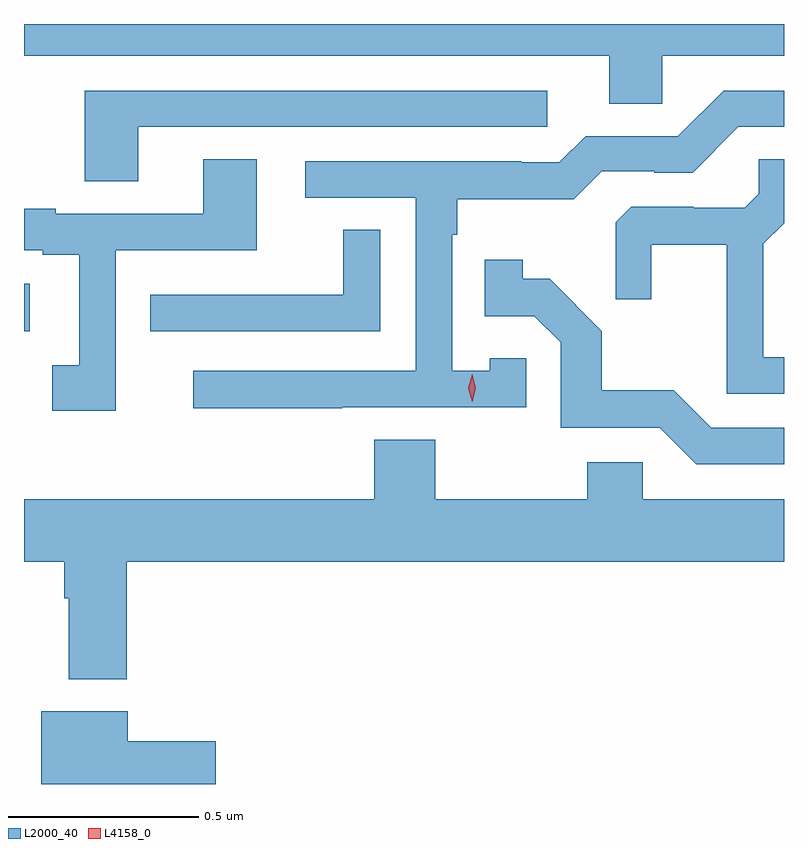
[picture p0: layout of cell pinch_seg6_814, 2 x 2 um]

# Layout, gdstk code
import gdstk
lib = gdstk.Library(unit=1e-6, precision=1e-09)
def R(c, l, rs):  # rectangles x0, y0, x1, y1
    for r in rs: c.add(gdstk.rectangle(r[:2], r[2:], *l))
def P(c, l, *ps):  # polygons
    for p in ps: c.add(gdstk.Polygon(p, *l))
L2000_40 = (2000, 40)
L4158_0 = (4158, 0)

pinch_seg6_814 = lib.new_cell('pinch_seg6_814')
R(pinch_seg6_814, L2000_40, [(349.471,979.911,349.486,980.035)])
P(pinch_seg6_814, L2000_40, [(351.15,980.636),(351.471,980.636),(351.471,980.719),(349.471,980.719),(349.471,980.636),(351.011,980.636),(351.011,980.509),(351.15,980.509)],
  [(350.309,979.71),(350.793,979.71),(350.793,979.839),(350.697,979.839),(350.697,979.807),(350.598,979.807),(350.598,980.165),(350.611,980.165),(350.611,980.258),(350.918,980.258),(350.991,980.331),(351.13,980.331),(351.13,980.328),(351.231,980.328),(351.351,980.448),(351.471,980.448),(351.471,980.544),(351.312,980.544),(351.192,980.424),(350.949,980.424),(350.88,980.355),(350.78,980.355),(350.78,980.358),(350.211,980.358),(350.211,980.262),(350.502,980.262),(350.502,979.806),(349.917,979.806),(349.917,979.708),(350.309,979.708)],
  [(349.771,980.448),(350.848,980.448),(350.848,980.544),(349.631,980.544),(349.631,980.305),(349.771,980.305)],
  [(349.713,980.124),(350.083,980.124),(350.083,980.363),(349.943,980.363),(349.943,980.22),(349.555,980.22),(349.555,980.233),(349.471,980.233),(349.471,980.124),(349.52,980.124),(349.52,980.112),(349.616,980.112),(349.616,979.821),(349.545,979.821),(349.545,979.701),(349.713,979.701)],
  [(351.471,979.842),(351.417,979.842),(351.417,980.141),(351.471,980.195),(351.471,980.363),(351.405,980.363),(351.405,980.272),(351.368,980.235),(351.234,980.235),(351.234,980.238),(351.069,980.238),(351.028,980.197),(351.028,979.995),(351.122,979.995),(351.122,980.138),(351.32,980.138),(351.32,979.746),(351.471,979.746)],
  [(350.409,980.177),(350.311,980.177),(350.311,980.007),(349.915,980.007),(349.915,980.006),(349.803,980.006),(349.803,979.911),(350.409,979.911)],
  [(351.471,979.656),(351.279,979.656),(351.181,979.755),(350.992,979.755),(350.992,979.91),(350.854,980.048),(350.784,980.048),(350.784,980.098),(350.683,980.098),(350.683,979.95),(350.814,979.95),(350.883,979.881),(350.883,979.656),(351.144,979.656),(351.24,979.56),(351.471,979.56)],
  [(349.742,979.304),(351.471,979.304),(351.471,979.468),(351.099,979.468),(351.099,979.566),(350.953,979.566),(350.953,979.468),(350.553,979.468),(350.553,979.625),(350.393,979.625),(350.393,979.468),(349.471,979.468),(349.471,979.304),(349.577,979.304),(349.577,979.208),(349.589,979.208),(349.589,978.995),(349.742,978.995)],
  [(349.975,978.831),(349.744,978.831),(349.744,978.91),(349.517,978.91),(349.517,978.719),(349.975,978.719)])
P(pinch_seg6_814, L4158_0, [(350.65,979.725),(350.65,979.725),(350.64,979.761),(350.65,979.797),(350.65,979.797),(350.65,979.797),(350.66,979.761),(350.65,979.725)])

lib.write_gds('pinch_seg6_814.gds')
